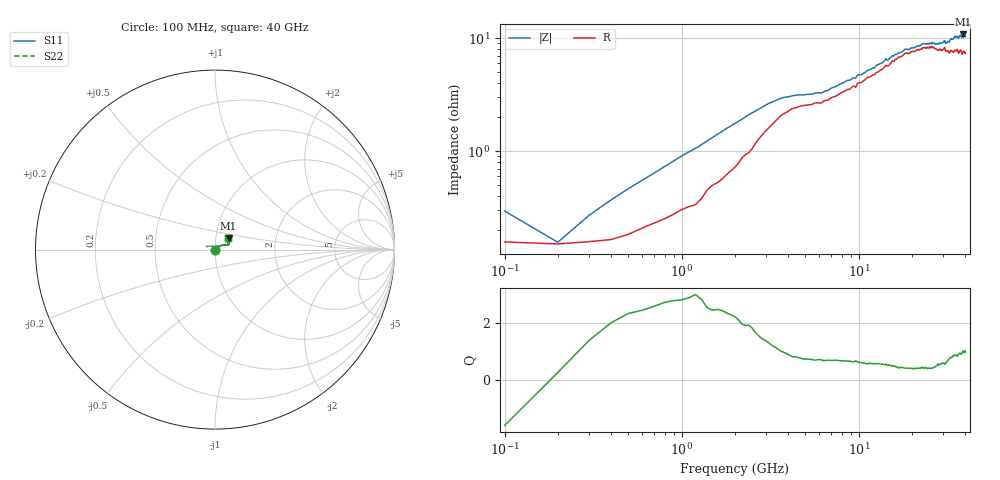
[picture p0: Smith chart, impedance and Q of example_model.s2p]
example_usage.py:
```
"""
Example usage of the rfm RFM implementation.

Demonstrates the basic workflow: read Touchstone data, apply Vector Fitting,
check passivity, and export the macromodel.
"""

import tempfile
from pathlib import Path

import numpy as np

import rfm


def main():
    print("rfm RFM Implementation - Example Usage")
    print("=" * 40)

    # Example 1: Read the bundled Touchstone sample.
    print("\n1. Reading the bundled S-parameter sample...")
    sample = Path(__file__).with_name("data") / "example_model.s2p"
    dum = rfm.read_touchstone(sample)
    print(f"   {dum.Nports} ports, {len(dum.f)} frequency points")
    print(f"   {dum.f[0]/1e9:.2f} GHz to {dum.f[-1]/1e9:.2f} GHz")

    # Example 2: Vector fitting of S21.
    print("\n2. Applying Vector Fitting to S21...")
    s21_data = dum.S[1, 0, :]
    freq_fit = dum.f[::4]
    s21_fit = s21_data[::4]

    poles, residues, d_term = rfm.fitting.vector_fit(
        freq_fit, s21_fit, max_poles=10
    )
    response = rfm.rfm_response(freq_fit, poles, residues, d_term)
    relative_error = (
        np.sqrt(np.mean(np.abs(s21_fit - response) ** 2))
        / np.sqrt(np.mean(np.abs(s21_fit) ** 2))
    )
    print(f"   Fitted {len(poles)} poles")
    print(f"   Relative RMS error: {relative_error:.3%}")

    # Example 3: Macromodel creation and passivity checking.
    print("\n3. Creating a macromodel and checking passivity...")
    model = rfm.Macromodel(representation='pole-residue')
    model.Nports = 1
    model.poles = poles
    model.residues = residues
    model.dc_gain = d_term

    is_passive, passive_model = rfm.validation.check_hamiltonian(
        model, freq_fit
    )
    if is_passive:
        print("   Model is passive")
    else:
        print("   Model is not passive - a passivated copy was returned")
        model = passive_model

    # Example 4: Export and reload the macromodel.
    print("\n4. Exporting the macromodel...")
    with tempfile.TemporaryDirectory() as tmp:
        tmp = Path(tmp)
        rfm.export_rfm_model(model, tmp / "model.json",
                             metadata={"source": str(sample)})
        rfm.export_rfm_touchstone(model, freq_fit, tmp / "model.s1p",
                                  s_param_index=(1, 1))
        reloaded = rfm.import_rfm_model(tmp / "model.json")
        exported = rfm.read_touchstone(tmp / "model.s1p")
        print(f"   Reloaded {len(reloaded.poles)} poles from JSON")
        print(f"   Exported {len(exported.f)} points to Touchstone")

    print("\nExample completed successfully!")


if __name__ == "__main__":
    main()
```
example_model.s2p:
# Hz  S  RI  R  50.00
! freq	real(Ex_S11_avg)	imag(Ex_S11_avg)	real(Ex_S21_avg)	imag(Ex_S21_avg)	real(Ex_S12_avg)	imag(Ex_S12_avg)	real(Ex_S22_avg)	imag(Ex_S22_avg)
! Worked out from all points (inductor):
!   401 points, 100 MHz to 40 GHz, reference 50 ohm
!   read as one part in series: L = 132 pH near 299.5 MHz
!   highest |Z| = 10.8 ohm at 39 GHz (marker M1)
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1e8  0.00157 -0.00249  0.9984 0.00249  0.9984 0.00249  0.00157 -0.00249
3.9925e8  0.00166 0.0033  0.9983 -0.0033  0.9983 -0.0033  0.00166 0.0033
5.9875e8  0.00211 0.00508  0.9979 -0.00508  0.9979 -0.00508  0.00211 0.00508
7.9825e8  0.00255 0.00679  0.9974 -0.00679  0.9974 -0.00679  0.00255 0.00679
1.39675e9  0.00466 0.0114  0.9953 -0.0114  0.9953 -0.0114  0.00465 0.0114
2.39425e9  0.00995 0.0183  0.9901 -0.0183  0.9901 -0.0182  0.00993 0.0182
3.4915e9  0.0194 0.0203  0.9806 -0.0203  0.9806 -0.0203  0.0194 0.0203
1.416475e10  0.055 0.0286  0.945 -0.0286  0.945 -0.0286  0.055 0.0286
2.005e10  0.0717 0.0261  0.9283 -0.0261  0.9283 -0.026  0.0717 0.026
3.90025e10  0.0756 0.0654  0.9244 -0.0654  0.9242 -0.0654  0.0758 0.0654
4e10  0.0732 0.0626  0.9268 -0.0626  0.9273 -0.0628  0.0727 0.0628
